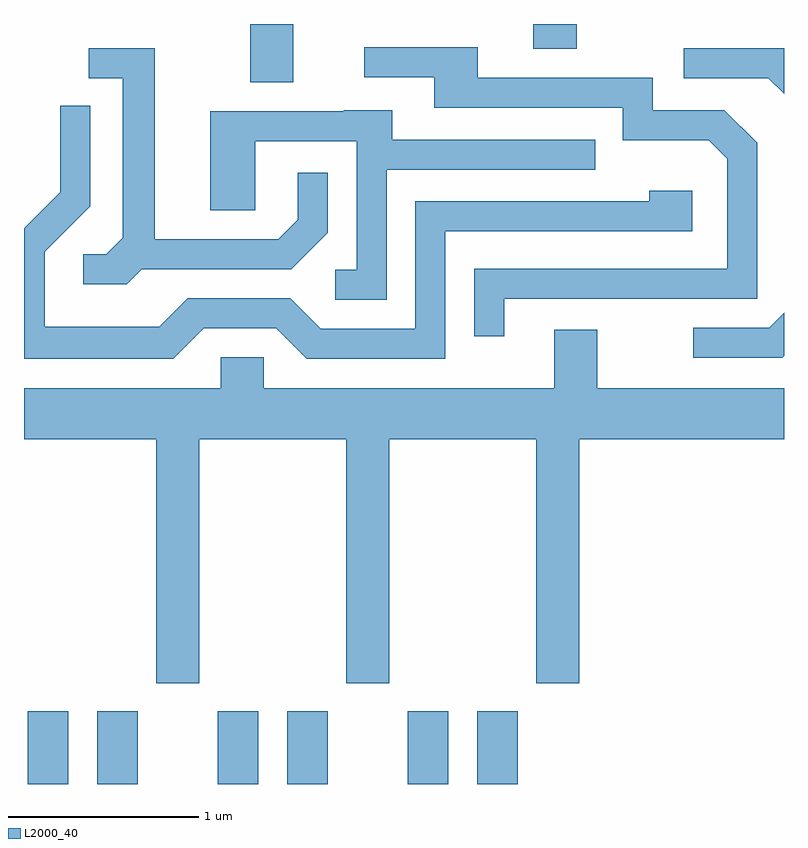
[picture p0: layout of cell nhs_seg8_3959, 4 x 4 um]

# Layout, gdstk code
import gdstk
lib = gdstk.Library(unit=1e-6, precision=1e-09)
def R(c, l, rs):  # rectangles x0, y0, x1, y1
    for r in rs: c.add(gdstk.rectangle(r[:2], r[2:], *l))
def P(c, l, *ps):  # polygons
    for p in ps: c.add(gdstk.Polygon(p, *l))
L2000_40 = (2000, 40)

nhs_seg8_3959 = lib.new_cell('nhs_seg8_3959')
R(nhs_seg8_3959, L2000_40, [(303.631,1872.342,303.844,1872.724), (303.996,1872.342,304.209,1872.724), (304.631,1872.342,304.844,1872.724), (304.996,1872.342,305.209,1872.724), (305.631,1872.342,305.844,1872.724), (305.996,1872.342,306.209,1872.724), (304.801,1876.036,305.029,1876.342), (306.291,1876.211,306.519,1876.342)])
P(nhs_seg8_3959, L2000_40, [(306.139,1874.896),(307.469,1874.896),(307.469,1875.717),(307.297,1875.889),(306.919,1875.889),(306.919,1876.059),(305.999,1876.059),(305.999,1876.219),(305.403,1876.219),(305.403,1876.061),(305.771,1876.061),(305.771,1875.901),(306.761,1875.901),(306.761,1875.731),(307.214,1875.731),(307.311,1875.634),(307.311,1875.054),(305.981,1875.054),(305.981,1874.698),(306.139,1874.698)],
  [(304.232,1875.051),(305.017,1875.051),(305.209,1875.244),(305.209,1875.558),(305.051,1875.558),(305.051,1875.312),(304.949,1875.209),(304.299,1875.209),(304.299,1876.214),(303.953,1876.214),(303.953,1876.056),(304.131,1876.056),(304.131,1875.217),(304.044,1875.129),(303.923,1875.129),(303.923,1874.971),(304.152,1874.971)],
  [(307.611,1876.214),(307.083,1876.214),(307.083,1876.056),(307.529,1876.056),(307.611,1875.974)],
  [(304.557,1874.741),(304.939,1874.741),(305.099,1874.581),(305.829,1874.581),(305.829,1875.251),(307.129,1875.251),(307.129,1875.464),(306.901,1875.464),(306.901,1875.409),(305.671,1875.409),(305.671,1874.739),(305.172,1874.739),(305.012,1874.899),(304.474,1874.899),(304.324,1874.749),(303.719,1874.749),(303.719,1875.144),(303.959,1875.384),(303.959,1875.913),(303.801,1875.913),(303.801,1875.457),(303.611,1875.267),(303.611,1874.581),(304.397,1874.581)],
  [(305.519,1875.576),(306.618,1875.576),(306.618,1875.734),(305.549,1875.734),(305.549,1875.889),(305.295,1875.889),(305.295,1875.884),(304.591,1875.884),(304.591,1875.361),(304.829,1875.361),(304.829,1875.726),(305.361,1875.726),(305.361,1875.049),(305.248,1875.049),(305.248,1874.891),(305.519,1874.891)],
  [(307.611,1874.595),(307.611,1874.822),(307.534,1874.744),(307.133,1874.744),(307.133,1874.586),(307.602,1874.586)],
  [(304.534,1874.156),(305.306,1874.156),(305.306,1872.871),(305.534,1872.871),(305.534,1874.156),(306.306,1874.156),(306.306,1872.871),(306.534,1872.871),(306.534,1874.156),(307.611,1874.156),(307.611,1874.424),(306.629,1874.424),(306.629,1874.734),(306.401,1874.734),(306.401,1874.424),(304.874,1874.424),(304.874,1874.589),(304.646,1874.589),(304.646,1874.424),(303.611,1874.424),(303.611,1874.156),(304.306,1874.156),(304.306,1872.871),(304.534,1872.871)])

lib.write_gds('nhs_seg8_3959.gds')
